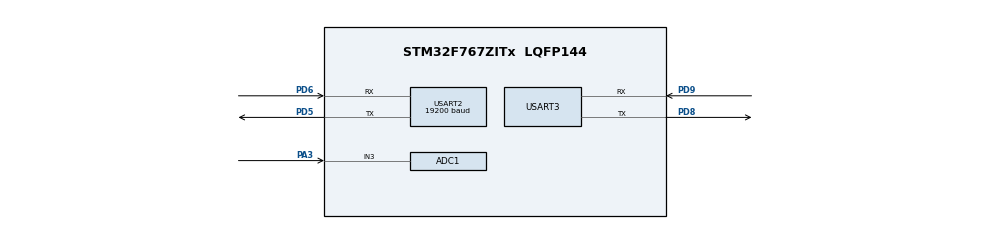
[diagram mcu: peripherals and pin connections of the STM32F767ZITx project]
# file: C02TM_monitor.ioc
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ADC1.Channel-0\#ChannelRegularConversion=ADC_CHANNEL_3
ADC1.NbrOfConversionFlag=1
ADC1.Rank-0\#ChannelRegularConversion=1
ADC1.SamplingTime-0\#ChannelRegularConversion=ADC_SAMPLETIME_3CYCLES
ADC1.master=1
Mcu.Family=STM32F7
Mcu.Name=STM32F767ZITx
Mcu.Package=LQFP144
NVIC.PriorityGroup=NVIC_PRIORITYGROUP_4
NVIC.TIM1_UP_TIM10_IRQn=true\:15\:0\:false\:false\:true\:false\:true\:true
NVIC.TimeBase=TIM1_UP_TIM10_IRQn
NVIC.TimeBaseIP=TIM1
NVIC.USART2_IRQn=true\:0\:0\:true\:false\:true\:true\:true\:true
NVIC.USART3_IRQn=true\:0\:0\:false\:false\:true\:true\:true\:true
PA13.Mode=Serial_Wire
PA13.Signal=SYS_JTMS-SWDIO
PA14.Mode=Serial_Wire
PA14.Signal=SYS_JTCK-SWCLK
PA3.Signal=ADCx_IN3
PC14/OSC32_IN.Mode=LSE-External-Oscillator
PC14/OSC32_IN.Signal=RCC_OSC32_IN
PC15/OSC32_OUT.Mode=LSE-External-Oscillator
PC15/OSC32_OUT.Signal=RCC_OSC32_OUT
PD5.Mode=Asynchronous
PD5.Signal=USART2_TX
PD6.Mode=Asynchronous
PD6.Signal=USART2_RX
PD8.Mode=Asynchronous
PD8.Signal=USART3_TX
PD9.Mode=Asynchronous
PD9.Signal=USART3_RX
PH0/OSC_IN.Mode=HSE-External-Oscillator
PH0/OSC_IN.Signal=RCC_OSC_IN
PH1/OSC_OUT.Mode=HSE-External-Oscillator
PH1/OSC_OUT.Signal=RCC_OSC_OUT
ProjectManager.HeapSize=0x200
ProjectManager.StackSize=0x400
ProjectManager.TargetToolchain=STM32CubeIDE
RCC.HSE_VALUE=25000000
RCC.HSI_VALUE=16000000
RCC.USBFreq_Value=96000000
RCC.VCOOutputFreq_Value=192000000
RTC.Date=23
RTC.Month=RTC_MONTH_JULY
RTC.WeekDay=RTC_WEEKDAY_SUNDAY
RTC.Year=23
SH.ADCx_IN3.0=ADC1_IN3,IN3
USART2.BaudRate=19200
USART2.Parity=PARITY_EVEN
USART2.VirtualMode-Asynchronous=VM_ASYNC
USART2.WordLength=WORDLENGTH_9B
USART3.VirtualMode-Asynchronous=VM_ASYNC
VP_RTC_VS_RTC_Activate.Mode=RTC_Enabled
VP_RTC_VS_RTC_Calendar.Mode=RTC_Calendar
VP_SYS_VS_tim1.Mode=TIM1
board=custom

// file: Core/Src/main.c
/* USER CODE BEGIN Header */
/**
  ******************************************************************************
  * @file           : main.c
  * @brief          : Main program body
  ******************************************************************************
  * @attention
  *
  * Copyright (c) 2023 STMicroelectronics.
  * All rights reserved.
  *
  * This software is licensed under terms that can be found in the LICENSE file
  * in the root directory of this software component.
  * If no LICENSE file comes with this software, it is provided AS-IS.
  *
  ******************************************************************************
  */
/* USER CODE END Header */
#include "main.h"

/* USER CODE BEGIN Includes */
#include <stdio.h>
#include <string.h>
/* USER CODE END Includes */

ADC_HandleTypeDef hadc1;

RTC_HandleTypeDef hrtc;

UART_HandleTypeDef huart2;
UART_HandleTypeDef huart3;

void SystemClock_Config(void);
static void MX_GPIO_Init(void);
static void MX_USART2_UART_Init(void);
static void MX_USART3_UART_Init(void);
static void MX_RTC_Init(void);
static void MX_ADC1_Init(void);
/* USER CODE BEGIN PFP */
void getTimeStamp();
/* USER CODE END PFP */

/* USER CODE BEGIN 0 */
static const uint8_t cmd[8] = {
		  0x15,	// slave address
		  0x04,	// read input register function
		  0x13,	// register address 5003 (MSB)
		  0x8B,	// register address 5003 (LSB)
		  0x00, // number of registers (MSB)
		  0x01,	// number of registers (LSB)
		  0x46,	// CRC (LSB)
		  0x70	// CRC (MSB)
};

static uint16_t cmd_length =
  		  (uint16_t)(sizeof(cmd)/sizeof(uint8_t));

uint8_t rcv_buff[8];
uint8_t snd_buff[45];
uint16_t co2 = -1;

RTC_TimeTypeDef sTime;
RTC_DateTypeDef sDate;

/* USER CODE END 0 */

int main(void)
{

  /* MCU Configuration--------------------------------------------------------*/

  /* Reset of all peripherals, Initializes the Flash interface and the Systick. */
  HAL_Init();

  /* Configure the system clock */
  SystemClock_Config();

  /* Initialize all configured peripherals */
  MX_GPIO_Init();
  MX_USART2_UART_Init();
  MX_USART3_UART_Init();
  MX_RTC_Init();
  MX_ADC1_Init();
  /* USER CODE BEGIN 2 */
  HAL_UART_Receive_IT(&huart2, rcv_buff, 8);
  /* USER CODE END 2 */

  /* Infinite loop */
  /* USER CODE BEGIN WHILE */
  sTime.Hours = 0x08;
  sTime.Minutes = 0x52;
  sTime.Seconds = 0x00;

  if (HAL_RTC_SetTime(&hrtc, &sTime, RTC_FORMAT_BCD) != HAL_OK)
  {
	  Error_Handler();
  }

  while (1)
  {
	  HAL_UART_Transmit(&huart2, cmd, cmd_length, 1000);
	  HAL_Delay(50);
    /* USER CODE END WHILE */

  }
}

void SystemClock_Config(void)
{
  RCC_OscInitTypeDef RCC_OscInitStruct = {0};
  RCC_ClkInitTypeDef RCC_ClkInitStruct = {0};

  /** Configure LSE Drive Capability
  */
  HAL_PWR_EnableBkUpAccess();

  /** Configure the main internal regulator output voltage
  */
  __HAL_RCC_PWR_CLK_ENABLE();
  __HAL_PWR_VOLTAGESCALING_CONFIG(PWR_REGULATOR_VOLTAGE_SCALE3);

  /** Initializes the RCC Oscillators according to the specified parameters
  * in the RCC_OscInitTypeDef structure.
  */
  RCC_OscInitStruct.OscillatorType = RCC_OSCILLATORTYPE_HSI|RCC_OSCILLATORTYPE_LSI;
  RCC_OscInitStruct.HSIState = RCC_HSI_ON;
  RCC_OscInitStruct.HSICalibrationValue = RCC_HSICALIBRATION_DEFAULT;
  RCC_OscInitStruct.LSIState = RCC_LSI_ON;
  RCC_OscInitStruct.PLL.PLLState = RCC_PLL_NONE;
  if (HAL_RCC_OscConfig(&RCC_OscInitStruct) != HAL_OK)
  {
    Error_Handler();
  }

  /** Initializes the CPU, AHB and APB buses clocks
  */
  RCC_ClkInitStruct.ClockType = RCC_CLOCKTYPE_HCLK|RCC_CLOCKTYPE_SYSCLK
                              |RCC_CLOCKTYPE_PCLK1|RCC_CLOCKTYPE_PCLK2;
  RCC_ClkInitStruct.SYSCLKSource = RCC_SYSCLKSOURCE_HSI;
  RCC_ClkInitStruct.AHBCLKDivider = RCC_SYSCLK_DIV1;
  RCC_ClkInitStruct.APB1CLKDivider = RCC_HCLK_DIV1;
  RCC_ClkInitStruct.APB2CLKDivider = RCC_HCLK_DIV1;

  if (HAL_RCC_ClockConfig(&RCC_ClkInitStruct, FLASH_LATENCY_0) != HAL_OK)
  {
    Error_Handler();
  }
}

static void MX_ADC1_Init(void)
{

  ADC_ChannelConfTypeDef sConfig = {0};

  /** Configure the global features of the ADC (Clock, Resolution, Data Alignment and number of conversion)
  */
  hadc1.Instance = ADC1;
  hadc1.Init.ClockPrescaler = ADC_CLOCK_SYNC_PCLK_DIV2;
  hadc1.Init.Resolution = ADC_RESOLUTION_12B;
  hadc1.Init.ScanConvMode = ADC_SCAN_DISABLE;
  hadc1.Init.ContinuousConvMode = DISABLE;
  hadc1.Init.DiscontinuousConvMode = DISABLE;
  hadc1.Init.ExternalTrigConvEdge = ADC_EXTERNALTRIGCONVEDGE_NONE;
  hadc1.Init.ExternalTrigConv = ADC_SOFTWARE_START;
  hadc1.Init.DataAlign = ADC_DATAALIGN_RIGHT;
  hadc1.Init.NbrOfConversion = 1;
  hadc1.Init.DMAContinuousRequests = DISABLE;
  hadc1.Init.EOCSelection = ADC_EOC_SINGLE_CONV;
  if (HAL_ADC_Init(&hadc1) != HAL_OK)
  {
    Error_Handler();
  }

  /** Configure for the selected ADC regular channel its corresponding rank in the sequencer and its sample time.
  */
  sConfig.Channel = ADC_CHANNEL_3;
  sConfig.Rank = ADC_REGULAR_RANK_1;
  sConfig.SamplingTime = ADC_SAMPLETIME_3CYCLES;
  if (HAL_ADC_ConfigChannel(&hadc1, &sConfig) != HAL_OK)
  {
    Error_Handler();
  }

}

static void MX_RTC_Init(void)
{

  RTC_TimeTypeDef sTime = {0};
  RTC_DateTypeDef sDate = {0};

  /** Initialize RTC Only
  */
  hrtc.Instance = RTC;
  hrtc.Init.HourFormat = RTC_HOURFORMAT_24;
  hrtc.Init.AsynchPrediv = 127;
  hrtc.Init.SynchPrediv = 255;
  hrtc.Init.OutPut = RTC_OUTPUT_DISABLE;
  hrtc.Init.OutPutPolarity = RTC_OUTPUT_POLARITY_HIGH;
  hrtc.Init.OutPutType = RTC_OUTPUT_TYPE_OPENDRAIN;
  if (HAL_RTC_Init(&hrtc) != HAL_OK)
  {
    Error_Handler();
  }

  /** Initialize RTC and set the Time and Date
  */
  sTime.Hours = 0x0;
  sTime.Minutes = 0x0;
  sTime.Seconds = 0x0;
  sTime.DayLightSaving = RTC_DAYLIGHTSAVING_NONE;
  sTime.StoreOperation = RTC_STOREOPERATION_RESET;
  if (HAL_RTC_SetTime(&hrtc, &sTime, RTC_FORMAT_BCD) != HAL_OK)
  {
    Error_Handler();
  }
  sDate.WeekDay = RTC_WEEKDAY_SUNDAY;
  sDate.Month = RTC_MONTH_JULY;
  sDate.Date = 0x23;
  sDate.Year = 0x23;

  if (HAL_RTC_SetDate(&hrtc, &sDate, RTC_FORMAT_BCD) != HAL_OK)
  {
    Error_Handler();
  }

}

static void MX_USART2_UART_Init(void)
{

  huart2.Instance = USART2;
  huart2.Init.BaudRate = 19200;
  huart2.Init.WordLength = UART_WORDLENGTH_9B;
  huart2.Init.StopBits = UART_STOPBITS_1;
  huart2.Init.Parity = UART_PARITY_EVEN;
  huart2.Init.Mode = UART_MODE_TX_RX;
  huart2.Init.HwFlowCtl = UART_HWCONTROL_NONE;
  huart2.Init.OverSampling = UART_OVERSAMPLING_16;
  huart2.Init.OneBitSampling = UART_ONE_BIT_SAMPLE_DISABLE;
  huart2.AdvancedInit.AdvFeatureInit = UART_ADVFEATURE_NO_INIT;
  if (HAL_UART_Init(&huart2) != HAL_OK)
  {
    Error_Handler();
  }
  /* USER CODE BEGIN USART2_Init 2 */
  HAL_NVIC_SetPriority(USART2_IRQn, 0, 0);
  HAL_NVIC_EnableIRQ(USART2_IRQn);
  /* USER CODE END USART2_Init 2 */

}

static void MX_USART3_UART_Init(void)
{

  huart3.Instance = USART3;
  huart3.Init.BaudRate = 115200;
  huart3.Init.WordLength = UART_WORDLENGTH_8B;
  huart3.Init.StopBits = UART_STOPBITS_1;
  huart3.Init.Parity = UART_PARITY_NONE;
  huart3.Init.Mode = UART_MODE_TX_RX;
  huart3.Init.HwFlowCtl = UART_HWCONTROL_NONE;
  huart3.Init.OverSampling = UART_OVERSAMPLING_16;
  huart3.Init.OneBitSampling = UART_ONE_BIT_SAMPLE_DISABLE;
  huart3.AdvancedInit.AdvFeatureInit = UART_ADVFEATURE_NO_INIT;
  if (HAL_UART_Init(&huart3) != HAL_OK)
  {
    Error_Handler();
  }

}

static void MX_GPIO_Init(void)
{

  /* GPIO Ports Clock Enable */
  __HAL_RCC_GPIOC_CLK_ENABLE();
  __HAL_RCC_GPIOH_CLK_ENABLE();
  __HAL_RCC_GPIOA_CLK_ENABLE();
  __HAL_RCC_GPIOD_CLK_ENABLE();

}

/* USER CODE BEGIN 4 */

void HAL_UART_RxCpltCallback(UART_HandleTypeDef *huart)
{
	if (huart->Instance == USART2) {
		HAL_UART_Receive_IT(&huart2, rcv_buff, 8);
		if( rcv_buff[0] == 0x15 && rcv_buff[1] == 0x04 && rcv_buff[2] == 0x02) {
			uint16_t new_co2 = (uint16_t)(rcv_buff[3] << 8 | rcv_buff[4]);
			if( new_co2 != co2 ) {
				co2 = new_co2;

				// Get the current time-stamp
				HAL_RTC_GetDate(&hrtc, &sDate, RTC_FORMAT_BIN);
				HAL_RTC_GetTime(&hrtc, &sTime, RTC_FORMAT_BIN);

				// Get the current temperature
				HAL_ADC_Start(&hadc1);
				HAL_ADC_PollForConversion(&hadc1, 1000);
				uint16_t raw = HAL_ADC_GetValue(&hadc1);

				// Create the string to send
				sprintf(snd_buff,"CO2: %04d | TT: %02d-%02d-%02d %02d.%02d.%02d | T: %d\r\n",
						co2, sDate.Year, sDate.Month, sDate.Date,
						sTime.Hours, sTime.Minutes, sTime.Seconds, raw);

				// Transmit the string
				HAL_UART_Transmit_IT(&huart3, snd_buff, sizeof(snd_buff));
			}
		}
	}
}
/* USER CODE END 4 */

void HAL_TIM_PeriodElapsedCallback(TIM_HandleTypeDef *htim)
{
  if (htim->Instance == TIM1) {
    HAL_IncTick();
  }
}

void Error_Handler(void)
{
  __disable_irq();
  while (1)
  {
  }
}
